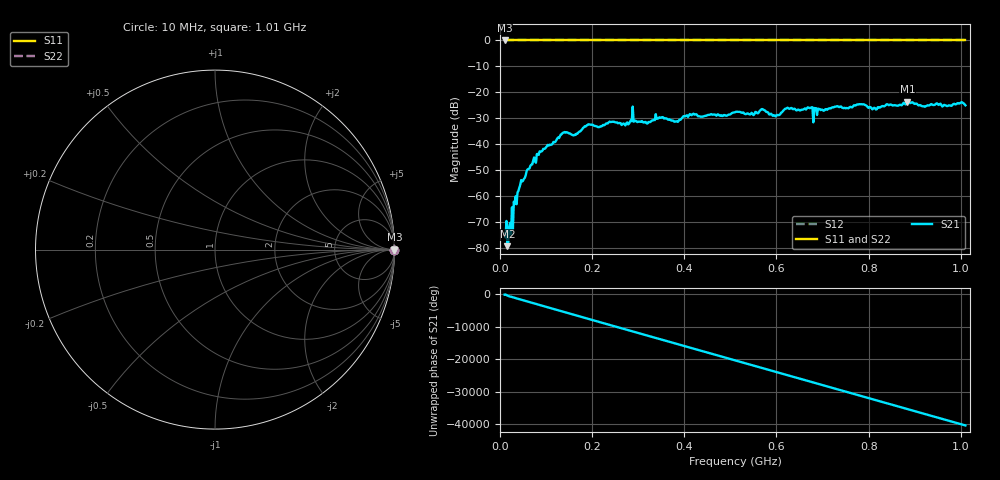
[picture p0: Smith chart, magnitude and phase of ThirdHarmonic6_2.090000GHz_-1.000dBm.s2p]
! 8/17/2025 1:01:07 AM
! C:\ANRITSUVNA\TEMP\TEMP.S2P
! CHANNEL.1
! TR.MEASUREMENT
! RAW.DATA
! RF.CORRECTION.OFF
! AVERAGING.OFF
! IF.BANDWIDTH: 5KHZ
! SWEEPTYPE:  FREQ.SWEEP(Linear)
! Reference Plane Port Info
! PORT:  PORT1  PORT2
! DISTANCE:  0  m  0  m
! TIME:  0  s  0  s
! PHASE.OFFSET:  0  deg.  0  deg.
! LOSS:  0  dB  0  dB
! REF.LOSS:  0  dB  0  dB
! REF.FREQ:  0  Hz  0  Hz
! Power Info
! POWER:  -20  dBm  -20  dBm
! EFF.POWER:  -20  dBm  -20  dBm
! SOURCE.ATTEN:  0  dB  0  dB
! TEST.ATTEN:  0  dB  0  dB
# GHZ S RI R 50.0
! FREQ.GHZ  S11RE  S11IM  S21RE  S21IM  S12RE  S12IM  S22RE  S22IM
!; PortSelection: Port_12
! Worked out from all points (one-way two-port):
!   501 points, 10 MHz to 1.01 GHz, reference 50 ohm
!   highest |S21| = -23.55 dB at 884 MHz (marker M1); lowest = -79.1 dB at 16 MHz (marker M2)
!   lowest |S11| = 0.0 dB at 10 MHz (marker M3)
!   |S11| at or under -10 dB: nowhere
!   |S22| runs from 0.0 to 0.0 dB; largest |S21 - S12| = 1.1
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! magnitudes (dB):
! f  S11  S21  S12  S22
! 10 MHz  0.0  -74.3  0.0  0.0
! 16 MHz  0.0  -79.1  0.0  0.0
! 20 MHz  0.0  -71.5  0.0  0.0
! 30 MHz  0.0  -62.0  0.0  0.0
! 42 MHz  0.0  -56.6  0.0  0.0
! 84 MHz  0.0  -44.0  0.0  0.0
! 136 MHz  0.0  -35.5  0.0  0.0
! 160 MHz  0.0  -36.5  0.0  0.0
! 178 MHz  0.0  -34.2  0.0  0.0
! 276 MHz  0.0  -31.5  0.0  0.0
! 286 MHz  0.0  -31.0  0.0  0.0
! 344 MHz  0.0  -29.9  0.0  0.0
! 382 MHz  0.0  -31.1  0.0  0.0
! 416 MHz  0.0  -28.7  0.0  0.0
! 510 MHz  0.0  -27.6  0.0  0.0
! 570 MHz  0.0  -26.4  0.0  0.0
! 596 MHz  0.0  -28.8  0.0  0.0
! 622 MHz  0.0  -26.1  0.0  0.0
! 678 MHz  0.0  -25.7  0.0  0.0
! 844 MHz  0.0  -24.9  0.0  0.0
! 884 MHz  0.0  -23.6  0.0  0.0
! 1.01 GHz  0.0  -25.0  0.0  0.0
